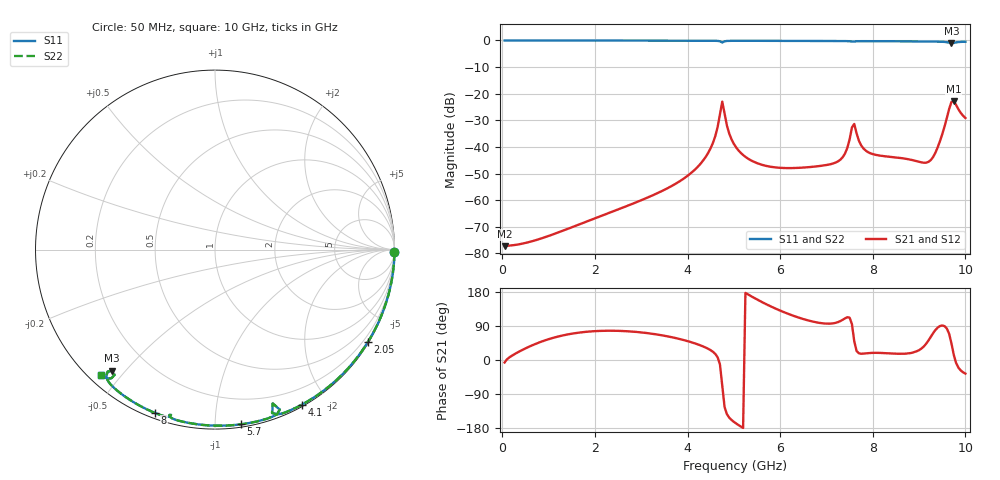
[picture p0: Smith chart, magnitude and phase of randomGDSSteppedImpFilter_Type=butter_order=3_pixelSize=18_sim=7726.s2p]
! freq	dB(S11)	phase(S11)	dB(S12)	phase(S12)
!  dB(S21)	phase(S21)	dB(S22)	phase(S22)
!S-par simulation data
#  GHz  S  DB  R 50
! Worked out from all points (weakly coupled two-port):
!   200 points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, 50 MHz to 10 GHz, reference 50 ohm
!   highest |S21| = -22.79 dB at 9.75 GHz (marker M1); lowest = -77.3 dB at 50 MHz (marker M2)
!   lowest |S11| = -1.1 dB at 9.7 GHz (marker M3), VSWR 16.51, Z = 3.67 - j23 ohm
!   |S11| at or under -10 dB: nowhere
!   |S22| runs from -1.1 to 0.0 dB; largest |S21 - S12| = 0
!   S11 on the Smith chart (normalised r, x): 50 MHz: open; 2.05 GHz: 0.03, -3.59; 4.1 GHz: 0.02, -1.71; 5.7 GHz: 0.02, -1.16; 8 GHz: 0.02, -0.70; 10 GHz: 0.03, -0.44
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0.05  -0.00 -0.8  -77.26 -6.5  -77.26 -6.5  -0.00 -0.8
1.75  -0.03 -26.6  -68.49 73.6  -68.49 73.6  -0.03 -26.6
2.05  -0.04 -31.1  -66.48 76.5  -66.48 76.5  -0.04 -31.1
3.4  -0.07 -50.8  -56.94 66.2  -56.94 66.2  -0.07 -50.8
4.1  -0.09 -60.7  -49.44 46.2  -49.44 46.2  -0.09 -60.7
4.55  -0.11 -67.3  -38.40 21.6  -38.40 21.6  -0.11 -67.4
4.75  -0.76 -69.4  -22.96 -68.3  -22.96 -68.3  -0.77 -69.4
4.9  -0.15 -70.3  -34.95 -152.0  -34.95 -152.0  -0.15 -70.3
5.05  -0.13 -72.8  -40.18 -167.6  -40.18 -167.6  -0.13 -72.8
5.7  -0.14 -81.6  -47.12 147.2  -47.12 147.2  -0.14 -81.7
6.7  -0.19 -94.5  -47.45 101.5  -47.45 101.5  -0.19 -94.5
7.3  -0.23 -102.0  -44.77 102.7  -44.77 102.7  -0.23 -102.0
7.45  -0.26 -104.1  -40.39 112.9  -40.39 112.9  -0.26 -104.1
7.6  -0.42 -104.9  -31.36 49.5  -31.36 49.5  -0.42 -104.9
7.75  -0.26 -106.9  -39.42 16.5  -39.42 16.5  -0.26 -106.9
8  -0.27 -110.1  -42.68 18.9  -42.68 18.9  -0.27 -110.1
8.35  -0.30 -114.4  -43.65 17.5  -43.65 17.5  -0.30 -114.4
9.25  -0.40 -125.5  -44.98 60.5  -44.98 60.5  -0.40 -125.5
9.45  -0.46 -128.3  -37.87 89.6  -37.87 89.6  -0.47 -128.4
9.7  -1.05 -130.3  -23.04 43.2  -23.04 43.2  -1.08 -130.4
9.75  -0.95 -128.8  -22.79 13.1  -22.79 13.1  -0.97 -128.7
10  -0.49 -132.3  -29.11 -36.0  -29.11 -36.0  -0.49 -132.3
